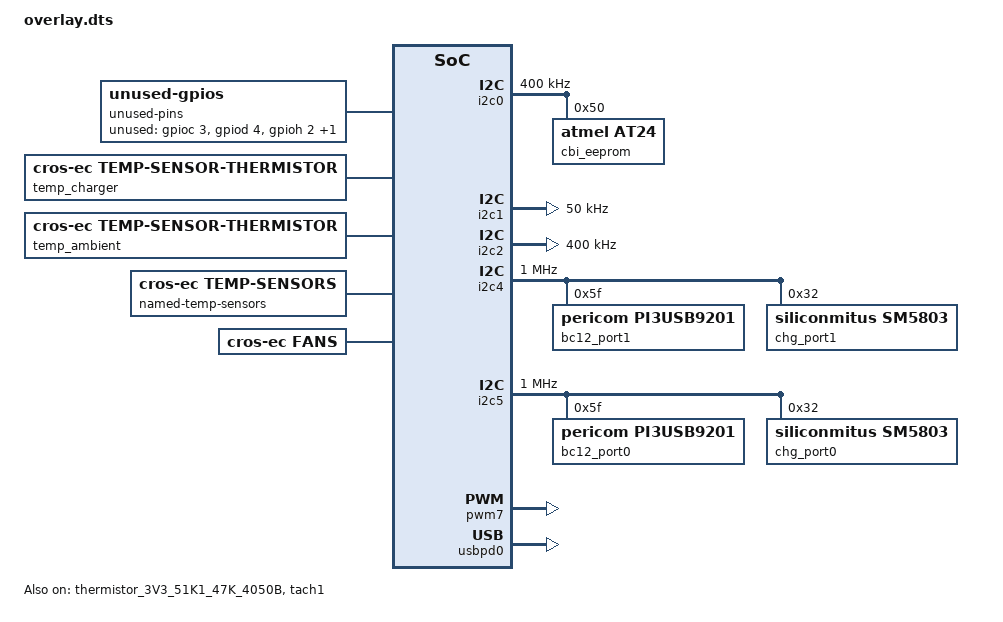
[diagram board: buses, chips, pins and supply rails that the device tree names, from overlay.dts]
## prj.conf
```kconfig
# Copyright 2021 The ChromiumOS Authors
# Use of this source code is governed by a BSD-style license that can be
# found in the LICENSE file.

CONFIG_BOARD_JOXER=y

# Ensure recovery key combination (esc+refresh+power) is reliable: b/236580049
CONFIG_PLATFORM_EC_KEYBOARD_PWRBTN_ASSERTS_KSI3=y
CONFIG_PLATFORM_EC_KEYBOARD_REFRESH_ROW3=y

# Sensor drivers
CONFIG_PLATFORM_EC_ACCELGYRO_BMI_COMM_I2C=y
CONFIG_PLATFORM_EC_ACCELGYRO_BMI3XX=y
CONFIG_PLATFORM_EC_ACCEL_BMA4XX=y
CONFIG_PLATFORM_EC_MAX_SENSOR_FREQ_MILLIHZ=100000

# LED
CONFIG_PLATFORM_EC_LED_PWM=n
CONFIG_PLATFORM_EC_LED_COMMON=y
```

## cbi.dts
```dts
/* Copyright 2022 The ChromiumOS Authors
 * Use of this source code is governed by a BSD-style license that can be
 * found in the LICENSE file.
 */

/ {
	nissa-fw-config {
		compatible = "cros-ec,cbi-fw-config";

		/*
		 * FW_CONFIG field to indicate which keyboard layout
		 * should be used.
		 */
		keyboard {
			enum-name = "FW_KB_LAYOUT";
			start = <3>;
			size = <2>;

			layout-1 {
				compatible = "cros-ec,cbi-fw-config-value";
				enum-name = "FW_KB_LAYOUT_DEFAULT";
				value = <0>;
				default;
			};
			layout-2 {
				compatible = "cros-ec,cbi-fw-config-value";
				enum-name = "FW_KB_LAYOUT_US2";
				value = <1>;
			};
		};
	};
};
```

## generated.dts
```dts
/* Copyright 2022 The ChromiumOS Authors
 * Use of this source code is governed by a BSD-style license that can be
 * found in the LICENSE file.
 *
 * This file is auto-generated - do not edit!
 */

/ {

	named-adc-channels {
		compatible = "named-adc-channels";

		adc_ec_vsense_pp1050_proc: ec_vsense_pp1050_proc {
			enum-name = "ADC_PP1050_PROC";
			io-channels = <&adc0 14>;
		};
		adc_ec_vsense_pp3300_s5: ec_vsense_pp3300_s5 {
			enum-name = "ADC_PP3300_S5";
			io-channels = <&adc0 0>;
		};
		adc_temp_sensor_1: temp_sensor_1 {
			enum-name = "ADC_TEMP_SENSOR_1";
			io-channels = <&adc0 2>;
		};
		adc_temp_sensor_2: temp_sensor_2 {
			enum-name = "ADC_TEMP_SENSOR_2";
			io-channels = <&adc0 3>;
		};
		adc_temp_sensor_3: temp_sensor_3 {
			enum-name = "ADC_TEMP_SENSOR_3";
			io-channels = <&adc0 13>;
		};
	};

	named-gpios {
		compatible = "named-gpios";

		gpio_acc_int_l: acc_int_l {
			gpios = <&gpioc 0 GPIO_INPUT>;
		};
		gpio_all_sys_pwrgd: all_sys_pwrgd {
			gpios = <&gpiob 7 GPIO_INPUT>;
		};
		gpio_ccd_mode_odl: ccd_mode_odl {
			gpios = <&gpioh 5 GPIO_INPUT>;
			enum-name = "GPIO_CCD_MODE_ODL";
		};
		gpio_cpu_c10_gate_l: cpu_c10_gate_l {
			gpios = <&gpiog 1 GPIO_INPUT>;
		};
		gpio_ec_battery_pres_odl: ec_battery_pres_odl {
			gpios = <&gpioi 4 GPIO_INPUT>;
			enum-name = "GPIO_BATT_PRES_ODL";
		};
		gpio_ec_cbi_wp: ec_cbi_wp {
			gpios = <&gpioj 5 GPIO_OUTPUT>;
		};
		gpio_ec_edp_bl_en_od: ec_edp_bl_en_od {
			gpios = <&gpiok 4 GPIO_ODR_HIGH>;
			enum-name = "GPIO_ENABLE_BACKLIGHT";
		};
		gpio_ec_entering_rw: ec_entering_rw {
			gpios = <&gpioc 7 GPIO_OUTPUT>;
			enum-name = "GPIO_ENTERING_RW";
		};
		gpio_ec_gsc_packet_mode: ec_gsc_packet_mode {
			gpios = <&gpioh 1 GPIO_OUTPUT>;
			enum-name = "GPIO_PACKET_MODE_EN";
		};
		gpio_ec_pch_wake_odl: ec_pch_wake_odl {
			gpios = <&gpiob 2 GPIO_ODR_LOW>;
		};
		gpio_ec_prochot_odl: ec_prochot_odl {
			gpios = <&gpioi 1 GPIO_ODR_HIGH>;
		};
		gpio_ec_soc_dsw_pwrok: ec_soc_dsw_pwrok {
			gpios = <&gpiol 7 GPIO_OUTPUT>;
		};
		gpio_ec_soc_hdmi_hpd: ec_soc_hdmi_hpd {
			gpios = <&gpiok 7 GPIO_OUTPUT>;
		};
		gpio_ec_soc_int_odl: ec_soc_int_odl {
			gpios = <&gpiod 5 GPIO_ODR_HIGH>;
			enum-name = "GPIO_EC_INT_L";
		};
		gpio_ec_soc_pch_pwrok_od: ec_soc_pch_pwrok_od {
			gpios = <&gpiod 6 GPIO_ODR_HIGH>;
		};
		gpio_ec_soc_pwr_btn_odl: ec_soc_pwr_btn_odl {
			gpios = <&gpiob 6 GPIO_ODR_HIGH>;
			enum-name = "GPIO_PCH_PWRBTN_L";
		};
		gpio_ec_soc_rsmrst_l: ec_soc_rsmrst_l {
			gpios = <&gpioh 0 GPIO_OUTPUT>;
		};
		gpio_ec_soc_rtcrst: ec_soc_rtcrst {
			gpios = <&gpiok 2 GPIO_OUTPUT>;
		};
		gpio_ec_soc_sys_pwrok: ec_soc_sys_pwrok {
			gpios = <&gpiof 2 GPIO_OUTPUT>;
		};
		gpio_ec_soc_vccst_pwrgd_od: ec_soc_vccst_pwrgd_od {
			gpios = <&gpioe 5 GPIO_ODR_HIGH>;
		};
		gpio_ec_wp_odl: ec_wp_odl {
			gpios = <&gpioa 6 (GPIO_INPUT | GPIO_ACTIVE_LOW)>;
		};
		gpio_en_kb_bl: en_kb_bl {
			gpios = <&gpioj 3 GPIO_OUTPUT>;
			enum-name = "GPIO_EN_KEYBOARD_BACKLIGHT";
		};
		gpio_en_pp3300_s5: en_pp3300_s5 {
			gpios = <&gpioc 5 GPIO_OUTPUT>;
			enum-name = "GPIO_TEMP_SENSOR_POWER";
		};
		gpio_en_pp5000_pen_x: en_pp5000_pen_x {
			gpios = <&gpiob 5 GPIO_OUTPUT>;
		};
		gpio_en_pp5000_s5: en_pp5000_s5 {
			gpios = <&gpiok 5 GPIO_OUTPUT>;
		};
		gpio_en_slp_z: en_slp_z {
			gpios = <&gpiok 3 GPIO_OUTPUT>;
		};
		gpio_en_usb_a0_vbus: en_usb_a0_vbus {
			gpios = <&gpiol 6 GPIO_OUTPUT>;
		};
		gpio_en_usb_c0_cc1_vconn: en_usb_c0_cc1_vconn {
			gpios = <&gpioh 4 GPIO_OUTPUT>;
		};
		gpio_en_usb_c0_cc2_vconn: en_usb_c0_cc2_vconn {
			gpios = <&gpioh 6 GPIO_OUTPUT>;
		};
		gpio_gsc_ec_pwr_btn_odl: gsc_ec_pwr_btn_odl {
			gpios = <&gpioe 2 GPIO_INPUT_PULL_UP>;
			enum-name = "GPIO_POWER_BUTTON_L";
		};
		gpio_hdmi_sel: hdmi_sel {
			gpios = <&gpioc 6 GPIO_OUTPUT>;
		};
		gpio_imu_int_l: imu_int_l {
			gpios = <&gpioj 0 GPIO_INPUT>;
		};
		gpio_imvp91_vrrdy_od: imvp91_vrrdy_od {
			gpios = <&gpioj 4 GPIO_INPUT>;
		};
		gpio_lid_open: lid_open {
			gpios = <&gpiof 3 GPIO_INPUT>;
			enum-name = "GPIO_LID_OPEN";
		};
		gpio_pen_detect_odl: pen_detect_odl {
			gpios = <&gpioj 1 GPIO_INPUT_PULL_UP>;
		};
		gpio_pg_pp1050_mem_s3_od: pg_pp1050_mem_s3_od {
			gpios = <&gpiod 3 GPIO_INPUT>;
		};
		gpio_pg_pp5000_s5_od: pg_pp5000_s5_od {
			gpios = <&gpioe 3 GPIO_INPUT>;
		};
		gpio_rsmrst_pwrgd_l: rsmrst_pwrgd_l {
			gpios = <&gpioe 1 GPIO_INPUT_PULL_UP>;
		};
		gpio_slp_s0_l: slp_s0_l {
			gpios = <&gpioe 4 GPIO_INPUT>;
		};
		gpio_slp_s3_l: slp_s3_l {
			gpios = <&gpioh 3 GPIO_INPUT>;
		};
		gpio_slp_s4_l: slp_s4_l {
			gpios = <&gpioi 5 GPIO_INPUT>;
		};
		gpio_slp_sus_l: slp_sus_l {
			gpios = <&gpiog 2 GPIO_INPUT>;
		};
		gpio_sub_usb_a1_ilimit_sdp: sub_usb_a1_ilimit_sdp {
			gpios = <&gpiof 1 GPIO_OUTPUT>;
			enum-name = "GPIO_USB2_ILIM_SEL";
		};
		gpio_sys_rst_odl: sys_rst_odl {
			gpios = <&gpiod 1 GPIO_ODR_HIGH>;
		};
		gpio_tablet_mode_l: tablet_mode_l {
			gpios = <&gpioj 7 GPIO_INPUT>;
			enum-name = "GPIO_TABLET_MODE_L";
		};
		gpio_usb_a0_ilimit_sdp: usb_a0_ilimit_sdp {
			gpios = <&gpiol 5 GPIO_OUTPUT>;
			enum-name = "GPIO_USB1_ILIM_SEL";
		};
		gpio_usb_c0_frs: usb_c0_frs {
			gpios = <&gpioc 4 GPIO_OUTPUT>;
		};
		gpio_usb_c0_int_odl: usb_c0_int_odl {
			gpios = <&gpiok 0 GPIO_INPUT_PULL_UP>;
		};
		gpio_vccin_aux_vid0: vccin_aux_vid0 {
			gpios = <&gpiod 0 GPIO_INPUT>;
		};
		gpio_vccin_aux_vid1: vccin_aux_vid1 {
			gpios = <&gpiok 1 GPIO_INPUT>;
		};
		gpio_voldn_btn_odl: voldn_btn_odl {
			gpios = <&gpioi 6 GPIO_INPUT_PULL_UP>;
			enum-name = "GPIO_VOLUME_DOWN_L";
		};
		gpio_volup_btn_odl: volup_btn_odl {
			gpios = <&gpioi 7 GPIO_INPUT_PULL_UP>;
			enum-name = "GPIO_VOLUME_UP_L";
		};
	};

	named-i2c-ports {
		compatible = "named-i2c-ports";

		i2c_ec_i2c_eeprom: ec_i2c_eeprom {
			i2c-port = <&i2c0>;
			enum-names = "I2C_PORT_EEPROM";
		};
		i2c_ec_i2c_batt: ec_i2c_batt {
			i2c-port = <&i2c1>;
			enum-names = "I2C_PORT_BATTERY";
		};
		i2c_ec_i2c_sensor: ec_i2c_sensor {
			i2c-port = <&i2c2>;
			enum-names = "I2C_PORT_SENSOR";
		};
		i2c_ec_i2c_sub_usb_c1: ec_i2c_sub_usb_c1 {
			i2c-port = <&i2c4>;
			enum-names = "I2C_PORT_USB_C1_TCPC";
		};
		i2c_ec_i2c_usb_c0: ec_i2c_usb_c0 {
			i2c-port = <&i2c5>;
			enum-names = "I2C_PORT_USB_C0_TCPC";
		};
	};
};

&adc0 {
	status = "okay";
};

&i2c0 {
	status = "okay";
};

&i2c1 {
	status = "okay";
};

&i2c2 {
	status = "okay";
};

&i2c4 {
	status = "okay";
};

&i2c5 {
	status = "okay";
};
```

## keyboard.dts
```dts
/* Copyright 2022 The ChromiumOS Authors
 * Use of this source code is governed by a BSD-style license that can be
 * found in the LICENSE file.
 */

/ {
	kblight {
		compatible = "cros-ec,kblight-pwm";
		/*
		 * Use 324 Hz so that 32Khz clock source is used,
		 * which is not gated in power saving mode.
		 */
		pwms = <&pwm0 0 PWM_HZ(324) PWM_POLARITY_NORMAL>;
	};
};

&pwm0 {
	status = "okay";
	prescaler-cx = <PWM_PRESCALER_C4>;
	pinctrl-0 = <&pwm0_gpa0_default>;
	pinctrl-names = "default";
};
```

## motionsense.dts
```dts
/* Copyright 2022 The Chromium OS Authors. All rights reserved.
 * Use of this source code is governed by a BSD-style license that can be
 * found in the LICENSE file.
 */

#include <dt-bindings/motionsense/utils.h>


/ {
	aliases {
		/*
		 * Interrupt bindings for sensor devices.
		 */
		bmi3xx-int = &base_accel;
	};

	/*
	 * Declare mutexes used by sensor drivers.
	 * A mutex node is used to create an instance of mutex_t.
	 * A mutex node is referenced by a sensor node if the
	 * corresponding sensor driver needs to use the
	 * instance of the mutex.
	 */
	motionsense-mutex {
		compatible = "cros-ec,motionsense-mutex";
		lid_mutex: lid-mutex {
		};

		base_mutex: base-mutex {
		};
	};

	/* Rotation matrix used by drivers. */
	motionsense-rotation-ref {
		compatible = "cros-ec,motionsense-rotation-ref";
		lid_rot_ref: lid-rotation-ref {
			mat33 = <0 (-1) 0
				 (-1) 0 0
				 0 0 (-1)>;
		};

		base_rot_ref: base-rotation-ref {
			mat33 = <1 0 0
				 0 1 0
				 0 0 1>;
		};
	};

	/*
	 * Driver specific data. A driver-specific data can be shared with
	 * different motion sensors while they are using the same driver.
	 *
	 * If a node's compatible starts with "cros-ec,accelgyro-", it is for
	 * a common structure defined in accelgyro.h.
	 * e.g) compatible = "cros-ec,accelgyro-als-drv-data" is for
	 * "struct als_drv_data_t" in accelgyro.h
	 */
	motionsense-sensor-data {
		bmi323_data: bmi323-drv-data {
			compatible = "cros-ec,drvdata-bmi3xx";
			status = "okay";
		};

		bma422_data: bma422-drv-data {
			compatible = "cros-ec,drvdata-bma4xx";
			status = "okay";
		};
	};

	/*
	 * List of motion sensors that creates motion_sensors array.
	 * The nodelabel "lid_accel" and "base_accel" are used to indicate
	 * motion sensor IDs for lid angle calculation.
	 * TODO(b/238139272): The first entries of the array must be
	 * accelerometers,then gyroscope. Fix this dependency in the DTS
	 * processing which makes the devicetree entries independent.
	 */
	motionsense-sensor {
		lid_accel: lid-accel {
			compatible = "cros-ec,bma4xx";
			status = "okay";

			active-mask = "SENSOR_ACTIVE_S0_S3";
			location = "MOTIONSENSE_LOC_LID";
			mutex = <&lid_mutex>;
			port = <&i2c_ec_i2c_sensor>;
			rot-standard-ref = <&lid_rot_ref>;
			default-range = <2>;
			drv-data = <&bma422_data>;
			i2c-spi-addr-flags = "BMA4_I2C_ADDR_SECONDARY";
			configs {
				compatible =
					"cros-ec,motionsense-sensor-config";
				ec-s0 {
					odr = <(10000 | ROUND_UP_FLAG)>;
				};
				ec-s3 {
					odr = <(10000 | ROUND_UP_FLAG)>;
				};
			};
		};

		base_accel: base-accel {
			compatible = "cros-ec,bmi3xx-accel";
			status = "okay";

			active-mask = "SENSOR_ACTIVE_S0_S3";
			location = "MOTIONSENSE_LOC_BASE";
			mutex = <&base_mutex>;
			port = <&i2c_ec_i2c_sensor>;
			rot-standard-ref = <&base_rot_ref>;
			drv-data = <&bmi323_data>;
			configs {
				compatible =
					"cros-ec,motionsense-sensor-config";
				ec-s0 {
					odr = <(10000 | ROUND_UP_FLAG)>;
				};
				ec-s3 {
					odr = <(10000 | ROUND_UP_FLAG)>;
				};
			};
		};

		base_gyro: base-gyro {
			compatible = "cros-ec,bmi3xx-gyro";
			status = "okay";

			active-mask = "SENSOR_ACTIVE_S0_S3";
			location = "MOTIONSENSE_LOC_BASE";
			mutex = <&base_mutex>;
			port = <&i2c_ec_i2c_sensor>;
			rot-standard-ref = <&base_rot_ref>;
			drv-data = <&bmi323_data>;
		};
	};

	motionsense-sensor-info {
		compatible = "cros-ec,motionsense-sensor-info";

		/*
		 * list of GPIO interrupts that have to
		 * be enabled at initial stage
		 */
		sensor-irqs = <&int_imu>;
		/* list of sensors in force mode */
		accel-force-mode-sensors = <&lid_accel>;
	};
};
```

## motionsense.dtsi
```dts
/* Copyright 2022 The ChromiumOS Authors
 * Use of this source code is governed by a BSD-style license that can be
 * found in the LICENSE file.
 */

#include <dt-bindings/motionsense/utils.h>


/ {
	aliases {
		/*
		 * Interrupt bindings for sensor devices.
		 */
		bmi3xx-int = &base_accel;
	};

	/*
	 * Declare mutexes used by sensor drivers.
	 * A mutex node is used to create an instance of mutex_t.
	 * A mutex node is referenced by a sensor node if the
	 * corresponding sensor driver needs to use the
	 * instance of the mutex.
	 */
	motionsense-mutex {
		compatible = "cros-ec,motionsense-mutex";
		lid_mutex: lid-mutex {
		};

		base_mutex: base-mutex {
		};
	};

	/* Rotation matrix used by drivers. */
	motionsense-rotation-ref {
		compatible = "cros-ec,motionsense-rotation-ref";
		lid_rot_ref: lid-rotation-ref {
			mat33 = <0 (-1) 0
				 (-1) 0 0
				 0 0 (-1)>;
		};

		base_rot_ref: base-rotation-ref {
			mat33 = <1 0 0
				 0 1 0
				 0 0 1>;
		};
	};

	/*
	 * Driver specific data. A driver-specific data can be shared with
	 * different motion sensors while they are using the same driver.
	 *
	 * If a node's compatible starts with "cros-ec,accelgyro-", it is for
	 * a common structure defined in accelgyro.h.
	 * e.g) compatible = "cros-ec,accelgyro-als-drv-data" is for
	 * "struct als_drv_data_t" in accelgyro.h
	 */
	motionsense-sensor-data {
		bmi323_data: bmi323-drv-data {
			compatible = "cros-ec,drvdata-bmi3xx";
			status = "okay";
		};

		bma422_data: bma422-drv-data {
			compatible = "cros-ec,drvdata-bma4xx";
			status = "okay";
		};
	};

	/*
	 * List of motion sensors that creates motion_sensors array.
	 * The nodelabel "lid_accel" and "base_accel" are used to indicate
	 * motion sensor IDs for lid angle calculation.
	 * TODO(b/238139272): The first entries of the array must be
	 * accelerometers,then gyroscope. Fix this dependency in the DTS
	 * processing which makes the devicetree entries independent.
	 */
	motionsense-sensor {
		lid_accel: lid-accel {
			compatible = "cros-ec,bma4xx";
			status = "okay";

			active-mask = "SENSOR_ACTIVE_S0_S3";
			location = "MOTIONSENSE_LOC_LID";
			mutex = <&lid_mutex>;
			port = <&i2c_ec_i2c_sensor>;
			rot-standard-ref = <&lid_rot_ref>;
			default-range = <2>;
			drv-data = <&bma422_data>;
			i2c-spi-addr-flags = "BMA4_I2C_ADDR_SECONDARY";
			configs {
				compatible =
					"cros-ec,motionsense-sensor-config";
				ec-s0 {
					odr = <(10000 | ROUND_UP_FLAG)>;
				};
				ec-s3 {
					odr = <(10000 | ROUND_UP_FLAG)>;
				};
			};
		};

		base_accel: base-accel {
			compatible = "cros-ec,bmi3xx-accel";
			status = "okay";

			active-mask = "SENSOR_ACTIVE_S0_S3";
			location = "MOTIONSENSE_LOC_BASE";
			mutex = <&base_mutex>;
			port = <&i2c_ec_i2c_sensor>;
			rot-standard-ref = <&base_rot_ref>;
			drv-data = <&bmi323_data>;
			configs {
				compatible =
					"cros-ec,motionsense-sensor-config";
				ec-s0 {
					odr = <(10000 | ROUND_UP_FLAG)>;
				};
				ec-s3 {
					odr = <(10000 | ROUND_UP_FLAG)>;
				};
			};
		};

		base_gyro: base-gyro {
			compatible = "cros-ec,bmi3xx-gyro";
			status = "okay";

			active-mask = "SENSOR_ACTIVE_S0_S3";
			location = "MOTIONSENSE_LOC_BASE";
			mutex = <&base_mutex>;
			port = <&i2c_ec_i2c_sensor>;
			rot-standard-ref = <&base_rot_ref>;
			drv-data = <&bmi323_data>;
		};
	};

	motionsense-sensor-info {
		compatible = "cros-ec,motionsense-sensor-info";

		/*
		 * list of GPIO interrupts that have to
		 * be enabled at initial stage
		 */
		sensor-irqs = <&int_imu>;
		/* list of sensors in force mode */
		accel-force-mode-sensors = <&lid_accel>;
	};
};
```

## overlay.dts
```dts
/* Copyright 2021 The ChromiumOS Authors
 * Use of this source code is governed by a BSD-style license that can be
 * found in the LICENSE file.
 */

#include <cros/thermistor/thermistor.dtsi>

/ {
	aliases {
		gpio-cbi-wp = &gpio_ec_cbi_wp;
		gpio-wp = &gpio_ec_wp_odl;
		int-wp = &int_wp_l;
		/*
		 * USB-C: interrupt input.
		 * I2C pins are on i2c_ec_i2c_sub_usb_c1
		 */
		gpio-usb-c1-int-odl = &gpio_sb_1;
		/*
		 * USB-A: VBUS enable output
		 * LTE: power enable output
		 */
		gpio-en-usb-a1-vbus = &gpio_sb_2;
		/*
		 * HDMI: power enable output, HDMI enable output,
		 * and HPD input
		 */
		gpio-en-rails-odl = &gpio_sb_1;
		gpio-hdmi-en-odl = &gpio_sb_4;
		gpio-hpd-odl = &gpio_sb_3;
		/*
		 * Enable S5 rails for LTE sub-board
		 */
		gpio-en-sub-s5-rails = &gpio_sb_2;
	};

	ec-console {
		compatible = "ec-console";
		disabled = "events", "lpc", "hostcmd";
	};

	batteries {
		default_battery: cosmx {
			compatible = "cosmx,gh02047xl", "battery-smart";
		};
		dynapack_atl_gh02047xl {
			compatible = "dynapack,atl_gh02047xl", "battery-smart";
		};
		dynapack_cosmx_gh02047xl {
			compatible = "dynapack,cosmx_gh02047xl", "battery-smart";
		};
		smp_coslight_gh02047xl {
			compatible = "smp,coslight_gh02047xl", "battery-smart";
		};
		smp_highpower_gh02047xl {
			compatible = "smp,highpower_gh02047xl", "battery-smart";
		};
	};

	hibernate-wake-pins {
		compatible = "cros-ec,hibernate-wake-pins";
		wakeup-irqs = <
			&int_power_button
			&int_lid_open
		>;
	};

	gpio-interrupts {
		compatible = "cros-ec,gpio-interrupts";

		int_power_button: power_button {
			irq-pin = <&gpio_gsc_ec_pwr_btn_odl>;
			flags = <GPIO_INT_EDGE_BOTH>;
			handler = "power_button_interrupt";
		};
		int_vol_down: vol_down {
			irq-pin = <&gpio_voldn_btn_odl>;
			flags = <GPIO_INT_EDGE_BOTH>;
			handler = "button_interrupt";
		};
		int_vol_up: vol_up {
			irq-pin = <&gpio_volup_btn_odl>;
			flags = <GPIO_INT_EDGE_BOTH>;
			handler = "button_interrupt";
		};
		int_wp_l: wp_l {
			irq-pin = <&gpio_ec_wp_odl>;
			flags = <GPIO_INT_EDGE_BOTH>;
			handler = "switch_interrupt";
		};
		int_lid_open: lid_open {
			irq-pin = <&gpio_lid_open>;
			flags = <GPIO_INT_EDGE_BOTH>;
			handler = "lid_interrupt";
		};
		int_tablet_mode: tablet_mode {
			irq-pin = <&gpio_tablet_mode_l>;
			flags = <GPIO_INT_EDGE_BOTH>;
			handler = "gmr_tablet_switch_isr";
		};
		int_imu: ec_imu {
		  irq-pin = <&gpio_imu_int_l>;
		  flags = <GPIO_INT_EDGE_FALLING>;
		  handler = "bmi3xx_interrupt";
		};
		int_usb_c0: usb_c0 {
			irq-pin = <&gpio_usb_c0_int_odl>;
			flags = <GPIO_INT_EDGE_FALLING>;
			handler = "usb_c0_interrupt";
		};
		int_usb_c1: usb_c1 {
			irq-pin = <&gpio_sb_1>;
			flags = <GPIO_INT_EDGE_FALLING>;
			handler = "usb_c1_interrupt";
		};
	};

	unused-pins {
		compatible = "unused-gpios";
		unused-gpios = <&gpioc 3 0>,
			       <&gpiod 4 0>,
			       <&gpioh 2 0>,
			       <&gpiol 4 0>;
	};

	named-gpios {
		/*
		 * EC doesn't take any specific action on CC/SBU disconnect due to
		 * fault, but this definition is useful for hardware testing.
		 */
		gpio_usb_c0_prot_fault_odl: usb_c0_prot_fault_odl {
			gpios = <&gpiok 6 GPIO_INPUT_PULL_UP>;
		};

		gpio_sb_1: sb_1 {
			gpios = <&gpioe 6 0>;
			no-auto-init;
		};
		gpio_sb_2: sb_2 {
			gpios = <&gpiof 0 0>;
			no-auto-init;
		};

		gpio_sb_3: sb_3 {
			gpios = <&gpioe 7 0>;
			no-auto-init;
		};
		gpio_sb_4: sb_4 {
			gpios = <&gpioe 0 0>;
			no-auto-init;
		};
		gpio_fan_enable: fan-enable {
			gpios = <&gpiol 4 GPIO_OUTPUT>;
			no-auto-init;
		};
		gpio_power_led_gate: power_led_gate {
			gpios = <&gpiof 1 GPIO_OUTPUT_LOW>;
		};
		gpio_led_1_odl: led_1_odl {
			gpios = <&gpioa 1 GPIO_OUTPUT_HIGH>;
		};
		gpio_led_2_odl: led_2_odl {
			gpios = <&gpioa 2 GPIO_OUTPUT_HIGH>;
		};
		gpio_led_3_l: led_3_l {
			gpios = <&gpiol 2 GPIO_OUTPUT_HIGH>;
		};
		gpio_led_4_l: led_4_l {
			gpios = <&gpiol 3 GPIO_OUTPUT_HIGH>;
		};
	};

	temp_memory: memory {
		compatible = "cros-ec,temp-sensor-thermistor";
		thermistor = <&thermistor_3V3_51K1_47K_4050B>;
		adc = <&adc_temp_sensor_1>;
	};
	temp_charger: charger {
		compatible = "cros-ec,temp-sensor-thermistor";
		thermistor = <&thermistor_3V3_51K1_47K_4050B>;
		adc = <&adc_temp_sensor_2>;
	};
	temp_ambient: ambient {
		compatible = "cros-ec,temp-sensor-thermistor";
		thermistor = <&thermistor_3V3_51K1_47K_4050B>;
		adc = <&adc_temp_sensor_3>;
	};

	named-temp-sensors {
		compatible = "cros-ec,temp-sensors";
		memory {
			temp_fan_off = <35>;
			temp_fan_max = <60>;
			temp_host_high = <85>;
			temp_host_halt = <90>;
			temp_host_release_high = <80>;
			power-good-pin = <&gpio_ec_soc_dsw_pwrok>;
			sensor = <&temp_memory>;
		};
		charger {
			temp_fan_off = <35>;
			temp_fan_max = <60>;
			temp_host_high = <85>;
			temp_host_halt = <90>;
			temp_host_release_high = <80>;
			power-good-pin = <&gpio_ec_soc_dsw_pwrok>;
			sensor = <&temp_charger>;
		};
		ambient {
			temp_fan_off = <35>;
			temp_fan_max = <60>;
			temp_host_high = <85>;
			temp_host_halt = <90>;
			temp_host_release_high = <80>;
			power-good-pin = <&gpio_ec_soc_dsw_pwrok>;
			sensor = <&temp_ambient>;
		};
	};

	usba {
		compatible = "cros-ec,usba-port-enable-pins";
		/*
		 * sb_2 is only configured as GPIO when USB-A1 is present,
		 * but it's still safe to control when disabled.
		 *
		 * ILIM_SEL pins are referred to by legacy enum name,
		 * GPIO_USB*_ILIM_SEL. The one for port A1 is unused on
		 * sub-boards that don't have USB-A so is safe to control
		 * regardless of system configuration.
		 */
		enable-pins = <&gpio_en_usb_a0_vbus &gpio_sb_2>;
		status = "okay";
	};

	usbc {
		#address-cells = <1>;
		#size-cells = <0>;

		port0@0 {
			compatible = "named-usbc-port";
			reg = <0>;
			bc12 = <&bc12_port0>;
			chg = <&chg_port0>;
			usb-mux-chain-0 {
				compatible = "cros-ec,usb-mux-chain";
				usb-muxes = <&virtual_mux_0>;
			};
		};
		port0-muxes {
			virtual_mux_0: virtual-mux-0 {
				compatible = "cros-ec,usbc-mux-virtual";
			};
		};
		port1@1 {
			compatible = "named-usbc-port";
			reg = <1>;
			bc12 = <&bc12_port1>;
			chg = <&chg_port1>;
			usb-mux-chain-1 {
				compatible = "cros-ec,usb-mux-chain";
				usb-muxes = <&virtual_mux_1 &tcpci_mux_1>;
			};
			usb_mux_chain_1_no_mux: usb-mux-chain-1-no-mux {
				compatible = "cros-ec,usb-mux-chain";
				alternative-chain;
				usb-muxes = <&virtual_mux_1>;
			};
		};
		port1-muxes {
			virtual_mux_1: virtual-mux-1 {
				compatible = "cros-ec,usbc-mux-virtual";
			};
			tcpci_mux_1: tcpci-mux-1 {
				compatible = "parade,usbc-mux-ps8xxx";
			};
		};
	};
	fans {
		compatible = "cros-ec,fans";

		fan_0 {
			pwms = <&pwm7 PWM_CHANNEL_7 PWM_KHZ(30) PWM_POLARITY_NORMAL>;
			tach = <&tach1>;
			rpm_min = <1500>;
			rpm_start = <1500>;
			rpm_max = <6500>;
			enable_gpio = <&gpio_fan_enable>;
		};
	};
};

&gpio_acc_int_l {
	gpios = <&gpioc 0 (GPIO_INPUT | GPIO_VOLTAGE_1P8)>;
};
&gpio_imu_int_l {
	gpios = <&gpioj 0 (GPIO_INPUT | GPIO_VOLTAGE_1P8)>;
};
&gpio_vccin_aux_vid0 {
	gpios = <&gpiod 0 (GPIO_INPUT | GPIO_VOLTAGE_1P8)>;
};
&gpio_vccin_aux_vid1 {
	gpios = <&gpiok 1 (GPIO_INPUT | GPIO_VOLTAGE_1P8)>;
};

&gpio_ec_prochot_odl {
	gpios = <&gpioi 1 (GPIO_ODR_HIGH | GPIO_VOLTAGE_1P8)>;
};

&thermistor_3V3_51K1_47K_4050B {
	status = "okay";
};

&adc_ec_vsense_pp3300_s5 {
	/*
	 * Voltage divider on input has 47k upper and 220k lower legs with 3 V
	 * full-scale reading on the ADC. Apply the largest possible multiplier
	 * (without overflowing int32) to get the best possible approximation
	 * of the actual ratio, but derate by a factor of two to ensure
	 * unexpectedly high values won't overflow.
	 */
	mul = <(715828 / 2)>;
	div = <(589820 / 2)>;
};

&adc0 {
	pinctrl-0 = <&adc0_ch0_gpi0_default
		     &adc0_ch2_gpi2_default
		     &adc0_ch3_gpi3_default
		     &adc0_ch13_gpl0_default
		     &adc0_ch14_gpl1_default>;
	pinctrl-names = "default";
};

&pinctrl {
	i2c2_clk_gpf6_default: i2c2_clk_gpf6_default {
		gpio-voltage = "1v8";
	};
	i2c2_data_gpf7_default: i2c2_data_gpf7_default {
		gpio-voltage = "1v8";
	};
};


&i2c0 {
	label = "I2C_EEPROM";
	clock-frequency = <I2C_BITRATE_FAST>;

	cbi_eeprom: eeprom@50 {
		compatible = "atmel,at24";
		reg = <0x50>;
		size = <2048>;
		pagesize = <16>;
		address-width = <8>;
		timeout = <5>;
	};
	pinctrl-0 = <&i2c0_clk_gpb3_default
		     &i2c0_data_gpb4_default>;
	pinctrl-names = "default";
};

&i2c1 {
	label = "I2C_BATTERY";
	clock-frequency = <50000>;
	pinctrl-0 = <&i2c1_clk_gpc1_default
		     &i2c1_data_gpc2_default>;
	pinctrl-names = "default";
};

&i2c2 {
	label = "I2C_SENSOR";
	clock-frequency = <I2C_BITRATE_FAST>;
	pinctrl-0 = <&i2c2_clk_gpf6_default
		     &i2c2_data_gpf7_default>;
	pinctrl-names = "default";
};

&i2c4 {
	label = "I2C_SUB_C1_TCPC";
	clock-frequency = <I2C_BITRATE_FAST_PLUS>;
	pinctrl-0 = <&i2c4_clk_gpe0_default
		     &i2c4_data_gpe7_default>;
	pinctrl-names = "default";

	bc12_port1: pi3usb9201@5f {
		compatible = "pericom,pi3usb9201";
		status = "okay";
		reg = <0x5f>;
	};

	chg_port1: sm5803@32 {
		compatible = "siliconmitus,sm5803";
		status = "okay";
		reg = <0x32>;
	};
};

&i2c_ec_i2c_sub_usb_c1 {
	/*
	 * Dynamic speed setting is used for AP-controlled firmware update
	 * of PS8745 TCPC/redriver: the AP lowers speed to 400 kHz in order
	 * to use more efficient window programming, then sets it back when
	 * done.
	 */
	dynamic-speed;
};

&i2c5 {
	label = "I2C_USB_C0_TCPC";
	clock-frequency = <I2C_BITRATE_FAST_PLUS>;
	pinctrl-0 = <&i2c5_clk_gpa4_default
		     &i2c5_data_gpa5_default>;
	pinctrl-names = "default";

	bc12_port0: pi3usb9201@5f {
		compatible = "pericom,pi3usb9201";
		status = "okay";
		reg = <0x5f>;
	};

	chg_port0: sm5803@32 {
		compatible = "siliconmitus,sm5803";
		status = "okay";
		reg = <0x32>;
	};
};

/* pwm for fan */
&pwm7 {
	status = "okay";
	prescaler-cx = <PWM_PRESCALER_C4>;
	pinctrl-0 = <&pwm7_gpa7_default>;
	pinctrl-names = "default";
};

/* fan tachometer sensor */
&tach1 {
	status = "okay";
	channel = <IT8XXX2_TACH_CHANNEL_A>;
	pulses-per-round = <2>;
	pinctrl-0 = <&tach1a_gpd7_default>;
	pinctrl-names = "default";
};

&usbpd0 {
	status = "okay";
};
```

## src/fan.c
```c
/* Copyright 2022 The Chromium OS Authors. All rights reserved.
 * Use of this source code is governed by a BSD-style license that can be
 * found in the LICENSE file.
 */

#include <zephyr/devicetree.h>
#include <zephyr/drivers/gpio.h>
#include <zephyr/logging/log.h>

#include "cros_cbi.h"
#include "fan.h"
#include "gpio/gpio.h"
#include "hooks.h"

#include "nissa_common.h"

LOG_MODULE_DECLARE(nissa, CONFIG_NISSA_LOG_LEVEL);

/*
 * Joxer fan support
 */
static void fan_init(void)
{
	int ret;
	uint32_t val;
	/*
	 * Retrieve the fan config.
	 */
	ret = cros_cbi_get_fw_config(FW_FAN, &val);
	if (ret != 0) {
		LOG_ERR("Error retrieving CBI FW_CONFIG field %d", FW_FAN);
		return;
	}
	if (val != FW_FAN_PRESENT) {
		/* Disable the fan */
		fan_set_count(0);
	} else {
		/* Configure the fan enable GPIO */
		gpio_pin_configure_dt(GPIO_DT_FROM_NODELABEL(gpio_fan_enable),
				      GPIO_OUTPUT);
	}
}
DECLARE_HOOK(HOOK_INIT, fan_init, HOOK_PRIO_POST_FIRST);
```

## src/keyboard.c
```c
/* Copyright 2022 The ChromiumOS Authors
 * Use of this source code is governed by a BSD-style license that can be
 * found in the LICENSE file.
 */

#include <zephyr/devicetree.h>
#include <zephyr/drivers/gpio.h>
#include <zephyr/logging/log.h>

#include "cros_cbi.h"
#include "ec_commands.h"
#include "gpio/gpio.h"
#include "hooks.h"
#include "keyboard_8042_sharedlib.h"
#include "nissa_common.h"

LOG_MODULE_DECLARE(nissa, CONFIG_NISSA_LOG_LEVEL);

static const struct ec_response_keybd_config joxer_kb_legacy = {
	.num_top_row_keys = 13,
	.action_keys = {
		TK_BACK,		/* T1 */
		TK_REFRESH,		/* T2 */
		TK_FULLSCREEN,		/* T3 */
		TK_OVERVIEW,		/* T4 */
		TK_SNAPSHOT,		/* T5 */
		TK_BRIGHTNESS_DOWN,	/* T6 */
		TK_BRIGHTNESS_UP,	/* T7 */
		TK_KBD_BKLIGHT_TOGGLE,	/* T8 */
		TK_PLAY_PAUSE,		/* T9 */
		TK_MICMUTE,		/* T10 */
		TK_VOL_MUTE,		/* T11 */
		TK_VOL_DOWN,		/* T12 */
		TK_VOL_UP,		/* T13 */
	},
	.capabilities = KEYBD_CAP_SCRNLOCK_KEY,
};

__override const struct ec_response_keybd_config *
board_vivaldi_keybd_config(void)
{
	return &joxer_kb_legacy;
}

/*
 * Keyboard layout decided by FW config.
 */
static void kb_layout_init(void)
{
	int ret;
	uint32_t val;
	/*
	 * Retrieve the kb layout config.
	 */
	ret = cros_cbi_get_fw_config(FW_KB_LAYOUT, &val);
	if (ret != 0) {
		LOG_ERR("Error retrieving CBI FW_CONFIG field %d",
			FW_KB_LAYOUT);
		return;
	}
	/*
	 * If keyboard is US2(FW_KB_LAYOUT_US2), we need translate right ctrl
	 * to backslash(\|) key.
	 */
	if (val == FW_KB_LAYOUT_US2)
		set_scancode_set2(4, 0, get_scancode_set2(2, 7));
}
DECLARE_HOOK(HOOK_INIT, kb_layout_init, HOOK_PRIO_POST_FIRST);
```

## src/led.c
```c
/* Copyright 2022 The ChromiumOS Authors
 * Use of this source code is governed by a BSD-style license that can be
 * found in the LICENSE file.
 *
 * Battery LED control for nissa
 */
#include <stdint.h>

#include "charge_manager.h"
#include "common.h"
#include "compile_time_macros.h"
#include "ec_commands.h"
#include "gpio.h"
#include "led_common.h"
#include "led_onoff_states.h"
#include "pwm.h"
#include "util.h"

#define BAT_LED_ON_LVL 0
#define BAT_LED_OFF_LVL 1

#define PWR_LED_ON_LVL 1
#define PWR_LED_OFF_LVL 0

#define LED_SIDESEL_MB_PORT 0
#define LED_SIDESEL_DB_PORT 1

__override const int led_charge_lvl_1 = 5;
__override const int led_charge_lvl_2 = 95;

__override struct led_descriptor
	led_bat_state_table[LED_NUM_STATES][LED_NUM_PHASES] = {
		[STATE_CHARGING_LVL_1] = { { EC_LED_COLOR_AMBER,
					     LED_INDEFINITE } },
		[STATE_CHARGING_LVL_2] = { { EC_LED_COLOR_AMBER,
					     LED_INDEFINITE } },
		[STATE_CHARGING_FULL_CHARGE] = { { EC_LED_COLOR_WHITE,
						   LED_INDEFINITE } },
		[STATE_DISCHARGE_S0] = { { LED_OFF, LED_INDEFINITE } },
		[STATE_DISCHARGE_S0_BAT_LOW] = { { EC_LED_COLOR_AMBER,
						   1 * LED_ONE_SEC },
						 { LED_OFF, 1 * LED_ONE_SEC } },
		[STATE_DISCHARGE_S3] = { { LED_OFF, LED_INDEFINITE } },
		[STATE_DISCHARGE_S5] = { { LED_OFF, LED_INDEFINITE } },
		[STATE_BATTERY_ERROR] = { { EC_LED_COLOR_AMBER,
					    0.5 * LED_ONE_SEC },
					  { LED_OFF, 0.5 * LED_ONE_SEC } },
		[STATE_FACTORY_TEST] = { { EC_LED_COLOR_WHITE,
					   1 * LED_ONE_SEC },
					 { LED_OFF, 1 * LED_ONE_SEC } },
	};

__override const struct led_descriptor
	led_pwr_state_table[PWR_LED_NUM_STATES][LED_NUM_PHASES] = {
		[PWR_LED_STATE_ON] = { { EC_LED_COLOR_WHITE, LED_INDEFINITE } },
		[PWR_LED_STATE_SUSPEND_AC] = { { EC_LED_COLOR_WHITE,
						 1 * LED_ONE_SEC },
					       { LED_OFF, 1 * LED_ONE_SEC } },
		[PWR_LED_STATE_SUSPEND_NO_AC] = { { EC_LED_COLOR_WHITE,
						    1 * LED_ONE_SEC },
						  { LED_OFF,
						    1 * LED_ONE_SEC } },
		[PWR_LED_STATE_OFF] = { { LED_OFF, LED_INDEFINITE } },
	};

const enum ec_led_id supported_led_ids[] = {
	EC_LED_ID_BATTERY_LED,
	EC_LED_ID_POWER_LED,
};

const int supported_led_ids_count = ARRAY_SIZE(supported_led_ids);

__override void led_set_color_battery(enum ec_led_colors color)
{
	int port;

	/* There are four battery leds, LED1/LED2 are on MB side and
	 * LED3/LED4 are on DB side. All leds are OFF by default.
	 */
	int led1, led2, led3, led4;

	led1 = led2 = led3 = led4 = BAT_LED_OFF_LVL;

	/* Check which port is the charging port,
	 * and turn on the corresponding led.
	 */
	if (led_auto_control_is_enabled(EC_LED_ID_BATTERY_LED)) {
		port = charge_manager_get_active_charge_port();
		switch (port) {
		case LED_SIDESEL_MB_PORT:
			switch (color) {
			case EC_LED_COLOR_AMBER:
				led1 = BAT_LED_ON_LVL;
				break;
			case EC_LED_COLOR_WHITE:
				led2 = BAT_LED_ON_LVL;
				break;
			default: /* LED_OFF and other unsupported colors */
				break;
			}
			break;
		case LED_SIDESEL_DB_PORT:
			switch (color) {
			case EC_LED_COLOR_AMBER:
				led3 = BAT_LED_ON_LVL;
				break;
			case EC_LED_COLOR_WHITE:
				led4 = BAT_LED_ON_LVL;
				break;
			default: /* LED_OFF and other unsupported colors */
				break;
			}
			break;
		default: /* Unknown charging port */
			break;
		}
	} else {
		switch (color) {
		case EC_LED_COLOR_AMBER:
			led1 = BAT_LED_ON_LVL;
			led3 = BAT_LED_ON_LVL;
			break;
		case EC_LED_COLOR_WHITE:
			led2 = BAT_LED_ON_LVL;
			led4 = BAT_LED_ON_LVL;
			break;
		default: /* LED_OFF and other unsupported colors */
			break;
		}
	}

	gpio_pin_set_dt(GPIO_DT_FROM_NODELABEL(gpio_led_1_odl), led1);
	gpio_pin_set_dt(GPIO_DT_FROM_NODELABEL(gpio_led_2_odl), led2);
	gpio_pin_set_dt(GPIO_DT_FROM_NODELABEL(gpio_led_3_l), led3);
	gpio_pin_set_dt(GPIO_DT_FROM_NODELABEL(gpio_led_4_l), led4);
}

__override void led_set_color_power(enum ec_led_colors color)
{
	if (color == EC_LED_COLOR_WHITE)
		gpio_pin_set_dt(GPIO_DT_FROM_NODELABEL(gpio_power_led_gate),
				PWR_LED_ON_LVL);
	else
		/* LED_OFF and unsupported colors */
		gpio_pin_set_dt(GPIO_DT_FROM_NODELABEL(gpio_power_led_gate),
				PWR_LED_OFF_LVL);
}

void led_get_brightness_range(enum ec_led_id led_id, uint8_t *brightness_range)
{
	if (led_id == EC_LED_ID_BATTERY_LED) {
		brightness_range[EC_LED_COLOR_AMBER] = 1;
		brightness_range[EC_LED_COLOR_WHITE] = 1;
	} else if (led_id == EC_LED_ID_POWER_LED) {
		brightness_range[EC_LED_COLOR_WHITE] = 1;
	}
}

int led_set_brightness(enum ec_led_id led_id, const uint8_t *brightness)
{
	if (led_id == EC_LED_ID_BATTERY_LED) {
		led_auto_control(led_id, 0);
		if (brightness[EC_LED_COLOR_AMBER] != 0)
			led_set_color_battery(EC_LED_COLOR_AMBER);
		else if (brightness[EC_LED_COLOR_WHITE] != 0)
			led_set_color_battery(EC_LED_COLOR_WHITE);
		else if (brightness[LED_OFF] != 0)
			led_set_color_battery(LED_OFF);
		else {
			led_auto_control(led_id, 1);
			led_set_color_battery(LED_OFF);
		}
	} else if (led_id == EC_LED_ID_POWER_LED) {
		if (brightness[EC_LED_COLOR_WHITE] != 0)
			led_set_color_power(EC_LED_COLOR_WHITE);
		else
			led_set_color_power(LED_OFF);
	}

	return EC_SUCCESS;
}
```

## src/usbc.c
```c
/* Copyright 2022 The ChromiumOS Authors
 * Use of this source code is governed by a BSD-style license that can be
 * found in the LICENSE file.
 */

#include <zephyr/logging/log.h>
#include <ap_power/ap_power.h>

#include "charge_state_v2.h"
#include "chipset.h"
#include "hooks.h"
#include "usb_mux.h"
#include "system.h"
#include "driver/charger/sm5803.h"
#include "driver/tcpm/it83xx_pd.h"
#include "driver/tcpm/ps8xxx_public.h"
#include "driver/tcpm/tcpci.h"

#include "nissa_common.h"

LOG_MODULE_DECLARE(nissa, CONFIG_NISSA_LOG_LEVEL);

struct tcpc_config_t tcpc_config[CONFIG_USB_PD_PORT_MAX_COUNT] = {
	{
		.bus_type = EC_BUS_TYPE_EMBEDDED,
		/* TCPC is embedded within EC so no i2c config needed */
		.drv = &it8xxx2_tcpm_drv,
		/* Alert is active-low, push-pull */
		.flags = 0,
	},
	{
		/*
		 * Sub-board: optional PS8745 TCPC+redriver. Behaves the same
		 * as PS8815.
		 */
		.bus_type = EC_BUS_TYPE_I2C,
		.i2c_info = {
			.port = I2C_PORT_USB_C1_TCPC,
			.addr_flags = PS8XXX_I2C_ADDR1_FLAGS,
		},
		.drv = &ps8xxx_tcpm_drv,
		/* PS8745 implements TCPCI 2.0 */
		.flags = TCPC_FLAGS_TCPCI_REV2_0,
	},
};

/* Vconn control for integrated ITE TCPC */
void board_pd_vconn_ctrl(int port, enum usbpd_cc_pin cc_pin, int enabled)
{
	/* Vconn control is only for port 0 */
	if (port)
		return;

	if (cc_pin == USBPD_CC_PIN_1)
		gpio_pin_set_dt(
			GPIO_DT_FROM_NODELABEL(gpio_en_usb_c0_cc1_vconn),
			!!enabled);
	else
		gpio_pin_set_dt(
			GPIO_DT_FROM_NODELABEL(gpio_en_usb_c0_cc2_vconn),
			!!enabled);
}

__override bool pd_check_vbus_level(int port, enum vbus_level level)
{
	return sm5803_check_vbus_level(port, level);
}

/*
 * Putting chargers into LPM when in suspend reduces power draw by about 8mW
 * per charger, but also seems critical to correct operation in source mode:
 * if chargers are not in LPM when a sink is first connected, VBUS sourcing
 * works even if the partner is later removed (causing LPM entry) and
 * reconnected (causing LPM exit). If in LPM initially, sourcing VBUS
 * consistently causes the charger to report (apparently spurious) overcurrent
 * failures.
 *
 * In short, this is important to making things work correctly but we don't
 * understand why.
 */
static void board_chargers_suspend(struct ap_power_ev_callback *const cb,
				   const struct ap_power_ev_data data)
{
	void (*fn)(int chgnum);

	switch (data.event) {
	case AP_POWER_SUSPEND:
		fn = sm5803_enable_low_power_mode;
		break;
	case AP_POWER_RESUME:
		fn = sm5803_disable_low_power_mode;
		break;
	default:
		LOG_WRN("%s: power event %d is not recognized", __func__,
			data.event);
		return;
	}

	fn(CHARGER_PRIMARY);
	if (board_get_charger_chip_count() > 1)
		fn(CHARGER_SECONDARY);
}

static int board_chargers_suspend_init(const struct device *unused)
{
	static struct ap_power_ev_callback cb = {
		.handler = board_chargers_suspend,
		.events = AP_POWER_SUSPEND | AP_POWER_RESUME,
	};
	ap_power_ev_add_callback(&cb);
	return 0;
}
SYS_INIT(board_chargers_suspend_init, APPLICATION, 0);

int board_set_active_charge_port(int port)
{
	int is_real_port = (port >= 0 && port < board_get_usb_pd_port_count());
	int i;
	int old_port;
	int rv;

	if (!is_real_port && port != CHARGE_PORT_NONE)
		return EC_ERROR_INVAL;

	old_port = charge_manager_get_active_charge_port();
	LOG_INF("Charge update: p%d -> p%d", old_port, port);

	/* Check if port is sourcing VBUS. */
	if (port != CHARGE_PORT_NONE && charger_is_sourcing_otg_power(port)) {
		LOG_WRN("Skip enable p%d: already sourcing", port);
		return EC_ERROR_INVAL;
	}

	/* Disable sinking on all ports except the desired one */
	for (i = 0; i < board_get_usb_pd_port_count(); i++) {
		if (i == port)
			continue;

		if (sm5803_vbus_sink_enable(i, 0))
			/*
			 * Do not early-return because this can fail during
			 * power-on which would put us into a loop.
			 */
			LOG_WRN("p%d: sink path disable failed.", i);
	}

	/* Don't enable anything (stop here) if no ports were requested */
	if ((port == CHARGE_PORT_NONE) || (old_port == port))
		return EC_SUCCESS;

	/*
	 * Stop the charger IC from switching while changing ports.  Otherwise,
	 * we can overcurrent the adapter we're switching to. (crbug.com/926056)
	 */
	if (old_port != CHARGE_PORT_NONE)
		charger_discharge_on_ac(1);

	/* Enable requested charge port. */
	rv = sm5803_vbus_sink_enable(port, 1);
	if (rv)
		LOG_WRN("p%d: sink path enable failed: code %d", port, rv);

	/* Allow the charger IC to begin/continue switching. */
	charger_discharge_on_ac(0);

	return rv;
}

uint16_t tcpc_get_alert_status(void)
{
	/*
	 * TCPC 0 is embedded in the EC and processes interrupts in the chip
	 * code (it83xx/intc.c). This function only needs to poll port C1 if
	 * present.
	 */
	uint16_t status = 0;
	int regval;

	/* Is the C1 port present and its IRQ line asserted? */
	if (board_get_usb_pd_port_count() == 2 &&
	    !gpio_pin_get_dt(GPIO_DT_FROM_ALIAS(gpio_usb_c1_int_odl))) {
		/*
		 * C1 IRQ is shared between BC1.2 and TCPC; poll TCPC to see if
		 * it asserted the IRQ.
		 */
		if (!tcpc_read16(1, TCPC_REG_ALERT, &regval)) {
			if (regval)
				status = PD_STATUS_TCPC_ALERT_1;
		}
	}

	return status;
}

void pd_power_supply_reset(int port)
{
	int prev_en;

	if (port < 0 || port >= board_get_usb_pd_port_count())
		return;

	prev_en = charger_is_sourcing_otg_power(port);

	/* Disable Vbus */
	charger_enable_otg_power(port, 0);

	/* Discharge Vbus if previously enabled */
	if (prev_en)
		sm5803_set_vbus_disch(port, 1);

	/* Notify host of power info change. */
	pd_send_host_event(PD_EVENT_POWER_CHANGE);
}

int pd_set_power_supply_ready(int port)
{
	enum ec_error_list rv;

	if (port < 0 || port > board_get_usb_pd_port_count()) {
		LOG_WRN("Port C%d does not exist, cannot enable VBUS", port);
		return EC_ERROR_INVAL;
	}

	/* Disable sinking */
	rv = sm5803_vbus_sink_enable(port, 0);
	if (rv) {
		LOG_WRN("C%d failed to disable sinking: %d", port, rv);
		return rv;
	}

	/* Disable Vbus discharge */
	rv = sm5803_set_vbus_disch(port, 0);
	if (rv) {
		LOG_WRN("C%d failed to clear VBUS discharge: %d", port, rv);
		return rv;
	}

	/* Provide Vbus */
	rv = charger_enable_otg_power(port, 1);
	if (rv) {
		LOG_WRN("C%d failed to enable VBUS sourcing: %d", port, rv);
		return rv;
	}

	/* Notify host of power info change. */
	pd_send_host_event(PD_EVENT_POWER_CHANGE);

	return EC_SUCCESS;
}

__override void typec_set_source_current_limit(int port, enum tcpc_rp_value rp)
{
	int rv;
	const int current = rp == TYPEC_RP_3A0 ? 3000 : 1500;

	rv = charger_set_otg_current_voltage(port, current, 5000);
	if (rv != EC_SUCCESS) {
		LOG_WRN("Failed to set source ilimit on port %d to %d: %d",
			port, current, rv);
	}
}

void board_reset_pd_mcu(void)
{
	/*
	 * Do nothing. The integrated TCPC for C0 lacks a dedicated reset
	 * command, and C1 (if present) doesn't have a reset pin connected
	 * to the EC.
	 */
}

#define INT_RECHECK_US 5000

/* C0 interrupt line shared by BC 1.2 and charger */

static void check_c0_line(void);
DECLARE_DEFERRED(check_c0_line);

static void notify_c0_chips(void)
{
	usb_charger_task_set_event(0, USB_CHG_EVENT_BC12);
	sm5803_interrupt(0);
}

static void check_c0_line(void)
{
	/*
	 * If line is still being held low, see if there's more to process from
	 * one of the chips
	 */
	if (!gpio_pin_get_dt(GPIO_DT_FROM_NODELABEL(gpio_usb_c0_int_odl))) {
		notify_c0_chips();
		hook_call_deferred(&check_c0_line_data, INT_RECHECK_US);
	}
}

void usb_c0_interrupt(enum gpio_signal s)
{
	/* Cancel any previous calls to check the interrupt line */
	hook_call_deferred(&check_c0_line_data, -1);

	/* Notify all chips using this line that an interrupt came in */
	notify_c0_chips();

	/* Check the line again in 5ms */
	hook_call_deferred(&check_c0_line_data, INT_RECHECK_US);
}

/* C1 interrupt line shared by BC 1.2, TCPC, and charger */
static void check_c1_line(void);
DECLARE_DEFERRED(check_c1_line);

static void notify_c1_chips(void)
{
	schedule_deferred_pd_interrupt(1);
	usb_charger_task_set_event(1, USB_CHG_EVENT_BC12);
	/* Charger is handled in board_process_pd_alert */
}

static void check_c1_line(void)
{
	/*
	 * If line is still being held low, see if there's more to process from
	 * one of the chips.
	 */
	if (!gpio_pin_get_dt(GPIO_DT_FROM_ALIAS(gpio_usb_c1_int_odl))) {
		notify_c1_chips();
		hook_call_deferred(&check_c1_line_data, INT_RECHECK_US);
	}
}

void usb_c1_interrupt(enum gpio_signal s)
{
	/* Cancel any previous calls to check the interrupt line */
	hook_call_deferred(&check_c1_line_data, -1);

	/* Notify all chips using this line that an interrupt came in */
	notify_c1_chips();

	/* Check the line again in 5ms */
	hook_call_deferred(&check_c1_line_data, INT_RECHECK_US);
}

/*
 * Check state of IRQ lines at startup, ensuring an IRQ that happened before
 * the EC started up won't get lost (leaving the IRQ line asserted and blocking
 * any further interrupts on the port).
 *
 * Although the PD task will check for pending TCPC interrupts on startup,
 * the charger sharing the IRQ will not be polled automatically.
 */
void board_handle_initial_typec_irq(void)
{
	check_c0_line();
	check_c1_line();
}
/*
 * This must run after sub-board detection (which happens in EC main()),
 * but isn't depended on by anything else either.
 */
DECLARE_HOOK(HOOK_INIT, board_handle_initial_typec_irq, HOOK_PRIO_LAST);

/*
 * Handle charger interrupts in the PD task. Not doing so can lead to a priority
 * inversion where we fail to respond to TCPC alerts quickly enough because we
 * don't get another edge on a shared IRQ until the charger interrupt is cleared
 * (or the IRQ is polled again), which happens in the low-priority charger task:
 * the high-priority type-C handler is thus blocked on the lower-priority
 * charger.
 *
 * To avoid that, we run charger interrupts at the same priority.
 */
void board_process_pd_alert(int port)
{
	/*
	 * Port 0 doesn't use an external TCPC, so its interrupts don't need
	 * this special handling.
	 */
	if (port == 1 &&
	    !gpio_pin_get_dt(GPIO_DT_FROM_ALIAS(gpio_usb_c1_int_odl))) {
		sm5803_handle_interrupt(port);
	}
}

int pd_snk_is_vbus_provided(int port)
{
	int chg_det = 0;

	sm5803_get_chg_det(port, &chg_det);

	return chg_det;
}
```
